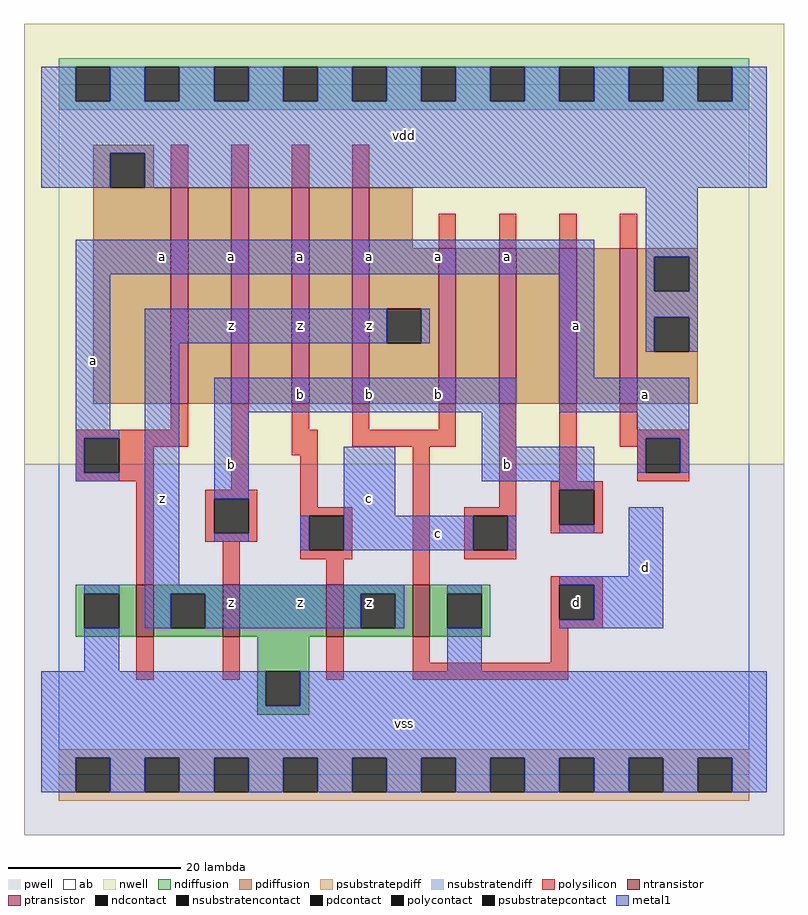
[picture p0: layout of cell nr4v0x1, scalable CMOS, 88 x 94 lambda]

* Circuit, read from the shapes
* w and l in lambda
.subckt nr4v0x1 a b c d vdd vss z
M1 z a vss vss nfet w=6 l=2
M2 vss b z vss nfet w=6 l=2
M3 z c vss vss nfet w=6 l=2
M4 vss d z vss nfet w=6 l=2
M5 n1 a vdd vdd pfet w=25 l=2
M6 n2 b n1 vdd pfet w=25 l=2
M7 n3 c n2 vdd pfet w=25 l=2
M8 z d n3 vdd pfet w=25 l=2
M9 n4 d z vdd pfet w=18 l=2
M10 n5 c n4 vdd pfet w=18 l=2
M11 n6 b n5 vdd pfet w=18 l=2
M12 vdd a n6 vdd pfet w=18 l=2
.ends

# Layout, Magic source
magic
tech scmos
<< ab >>
rect 0 0 80 80
<< pwell >>
rect -4 -7 84 36
<< nwell >>
rect -4 36 84 87
<< polysilicon >>
rect 13 68 15 73
rect 20 68 22 73
rect 27 68 29 73
rect 34 68 36 73
rect 44 61 46 65
rect 51 61 53 65
rect 58 61 60 65
rect 65 61 67 65
rect 13 40 15 43
rect 2 39 15 40
rect 2 35 3 39
rect 7 38 15 39
rect 7 35 11 38
rect 2 34 11 35
rect 9 22 11 34
rect 20 33 22 43
rect 27 40 29 43
rect 34 40 36 43
rect 44 40 46 43
rect 27 37 30 40
rect 34 38 46 40
rect 17 32 23 33
rect 17 28 18 32
rect 22 28 23 32
rect 17 27 23 28
rect 28 31 30 37
rect 28 30 34 31
rect 19 22 21 27
rect 28 26 29 30
rect 33 26 34 30
rect 28 25 34 26
rect 31 22 33 25
rect 41 22 43 38
rect 51 31 53 43
rect 58 34 60 43
rect 65 40 67 43
rect 65 39 73 40
rect 65 38 68 39
rect 67 35 68 38
rect 72 35 73 39
rect 67 34 73 35
rect 47 30 53 31
rect 47 26 48 30
rect 52 26 53 30
rect 57 33 63 34
rect 57 29 58 33
rect 62 29 63 33
rect 57 28 63 29
rect 47 25 53 26
rect 57 22 63 23
rect 57 18 58 22
rect 62 18 63 22
rect 57 17 63 18
rect 9 11 11 16
rect 19 11 21 16
rect 31 11 33 16
rect 41 13 43 16
rect 57 13 59 17
rect 41 11 59 13
<< ndiffusion >>
rect 2 21 9 22
rect 2 17 3 21
rect 7 17 9 21
rect 2 16 9 17
rect 11 21 19 22
rect 11 17 13 21
rect 17 17 19 21
rect 11 16 19 17
rect 21 16 31 22
rect 33 21 41 22
rect 33 17 35 21
rect 39 17 41 21
rect 33 16 41 17
rect 43 21 50 22
rect 43 17 45 21
rect 49 17 50 21
rect 43 16 50 17
rect 23 12 29 16
rect 23 8 24 12
rect 28 8 29 12
rect 23 7 29 8
<< pdiffusion >>
rect 4 72 11 73
rect 4 68 6 72
rect 10 68 11 72
rect 4 43 13 68
rect 15 43 20 68
rect 22 43 27 68
rect 29 43 34 68
rect 36 61 41 68
rect 36 54 44 61
rect 36 50 38 54
rect 42 50 44 54
rect 36 43 44 50
rect 46 43 51 61
rect 53 43 58 61
rect 60 43 65 61
rect 67 60 74 61
rect 67 56 69 60
rect 73 56 74 60
rect 67 53 74 56
rect 67 49 69 53
rect 73 49 74 53
rect 67 43 74 49
<< metal1 >>
rect -2 78 2 82
rect 6 78 10 82
rect 14 78 18 82
rect 22 78 26 82
rect 30 78 34 82
rect 38 78 42 82
rect 46 78 50 82
rect 54 78 58 82
rect 62 78 66 82
rect 70 78 74 82
rect 78 78 82 82
rect -2 72 82 78
rect -2 68 6 72
rect 10 68 82 72
rect 2 58 62 62
rect 2 40 6 58
rect 10 50 38 54
rect 42 50 43 54
rect 2 39 7 40
rect 2 35 3 39
rect 2 34 7 35
rect 10 22 14 50
rect 58 46 62 58
rect 68 60 74 68
rect 68 56 69 60
rect 73 56 74 60
rect 68 53 74 56
rect 68 49 69 53
rect 73 49 74 53
rect 18 42 53 46
rect 58 42 73 46
rect 18 32 22 42
rect 49 38 53 42
rect 67 39 73 42
rect 33 30 39 38
rect 49 34 62 38
rect 67 35 68 39
rect 72 35 73 39
rect 58 33 62 34
rect 18 27 22 28
rect 28 26 29 30
rect 33 26 48 30
rect 52 26 53 30
rect 58 28 62 29
rect 66 23 70 31
rect 58 22 70 23
rect 3 21 7 22
rect 10 21 40 22
rect 10 17 13 21
rect 17 17 35 21
rect 39 17 40 21
rect 45 21 49 22
rect 62 18 70 22
rect 58 17 70 18
rect 3 12 7 17
rect 45 12 49 17
rect -2 8 24 12
rect 28 8 82 12
rect -2 2 82 8
rect -2 -2 2 2
rect 6 -2 10 2
rect 14 -2 18 2
rect 22 -2 26 2
rect 30 -2 34 2
rect 38 -2 42 2
rect 46 -2 50 2
rect 54 -2 58 2
rect 62 -2 66 2
rect 70 -2 74 2
rect 78 -2 82 2
<< ntransistor >>
rect 9 16 11 22
rect 19 16 21 22
rect 31 16 33 22
rect 41 16 43 22
<< ptransistor >>
rect 13 43 15 68
rect 20 43 22 68
rect 27 43 29 68
rect 34 43 36 68
rect 44 43 46 61
rect 51 43 53 61
rect 58 43 60 61
rect 65 43 67 61
<< polycontact >>
rect 3 35 7 39
rect 18 28 22 32
rect 29 26 33 30
rect 68 35 72 39
rect 48 26 52 30
rect 58 29 62 33
rect 58 18 62 22
<< ndcontact >>
rect 3 17 7 21
rect 13 17 17 21
rect 35 17 39 21
rect 45 17 49 21
rect 24 8 28 12
<< pdcontact >>
rect 6 68 10 72
rect 38 50 42 54
rect 69 56 73 60
rect 69 49 73 53
<< psubstratepcontact >>
rect 2 -2 6 2
rect 10 -2 14 2
rect 18 -2 22 2
rect 26 -2 30 2
rect 34 -2 38 2
rect 42 -2 46 2
rect 50 -2 54 2
rect 58 -2 62 2
rect 66 -2 70 2
rect 74 -2 78 2
<< nsubstratencontact >>
rect 2 78 6 82
rect 10 78 14 82
rect 18 78 22 82
rect 26 78 30 82
rect 34 78 38 82
rect 42 78 46 82
rect 50 78 54 82
rect 58 78 62 82
rect 66 78 70 82
rect 74 78 78 82
<< psubstratepdiff >>
rect 0 2 80 3
rect 0 -2 2 2
rect 6 -2 10 2
rect 14 -2 18 2
rect 22 -2 26 2
rect 30 -2 34 2
rect 38 -2 42 2
rect 46 -2 50 2
rect 54 -2 58 2
rect 62 -2 66 2
rect 70 -2 74 2
rect 78 -2 80 2
rect 0 -3 80 -2
<< nsubstratendiff >>
rect 0 82 80 83
rect 0 78 2 82
rect 6 78 10 82
rect 14 78 18 82
rect 22 78 26 82
rect 30 78 34 82
rect 38 78 42 82
rect 46 78 50 82
rect 54 78 58 82
rect 62 78 66 82
rect 70 78 74 82
rect 78 78 80 82
rect 0 77 80 78
<< labels >>
rlabel metal1 4 48 4 48 6 a
rlabel metal1 28 20 28 20 6 z
rlabel metal1 20 20 20 20 6 z
rlabel metal1 12 32 12 32 6 z
rlabel metal1 28 44 28 44 6 b
rlabel metal1 20 36 20 36 6 b
rlabel metal1 28 52 28 52 6 z
rlabel metal1 20 52 20 52 6 z
rlabel metal1 12 60 12 60 6 a
rlabel metal1 28 60 28 60 6 a
rlabel metal1 20 60 20 60 6 a
rlabel metal1 40 6 40 6 6 vss
rlabel metal1 44 28 44 28 6 c
rlabel ndcontact 36 20 36 20 6 z
rlabel metal1 36 32 36 32 6 c
rlabel metal1 44 44 44 44 6 b
rlabel metal1 36 44 36 44 6 b
rlabel metal1 36 52 36 52 6 z
rlabel metal1 44 60 44 60 6 a
rlabel metal1 36 60 36 60 6 a
rlabel metal1 40 74 40 74 6 vdd
rlabel polycontact 60 20 60 20 6 d
rlabel metal1 52 36 52 36 6 b
rlabel metal1 60 52 60 52 6 a
rlabel metal1 52 60 52 60 6 a
rlabel metal1 68 24 68 24 6 d
rlabel metal1 68 44 68 44 6 a
<< end >>
